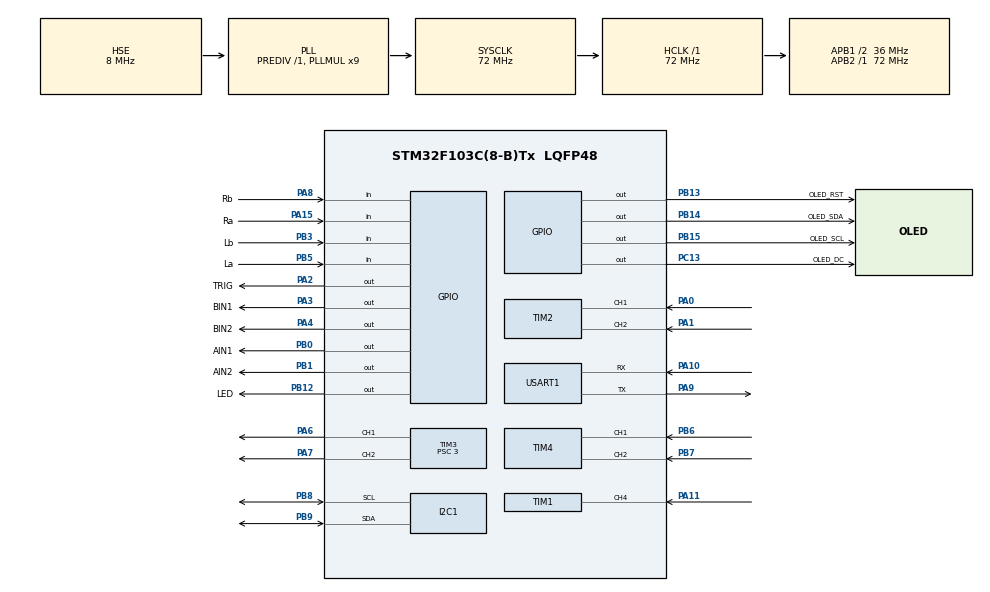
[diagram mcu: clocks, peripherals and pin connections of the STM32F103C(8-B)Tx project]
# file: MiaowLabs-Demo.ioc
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Mcu.Family=STM32F1
Mcu.Name=STM32F103C(8-B)Tx
Mcu.Package=LQFP48
NVIC.PriorityGroup=NVIC_PRIORITYGROUP_4
NVIC.TIM1_CC_IRQn=true\:0\:0\:false\:false\:true\:true\:true
NVIC.TIM1_UP_IRQn=true\:0\:0\:false\:false\:true\:true\:true
NVIC.USART1_IRQn=true\:0\:0\:false\:false\:true\:true\:true
PA0-WKUP.Signal=S_TIM2_CH1_ETR
PA1.Signal=S_TIM2_CH2
PA10.Mode=Asynchronous
PA10.Signal=USART1_RX
PA11.Signal=S_TIM1_CH4
PA13.Mode=Serial_Wire
PA13.Signal=SYS_JTMS-SWDIO
PA14.Mode=Serial_Wire
PA14.Signal=SYS_JTCK-SWCLK
PA15.GPIO_Label=Ra
PA15.GPIO_PuPd=GPIO_PULLUP
PA15.Signal=GPIO_Input
PA2.GPIO_Label=TRIG
PA2.GPIO_Speed=GPIO_SPEED_FREQ_HIGH
PA2.Signal=GPIO_Output
PA3.GPIO_Label=BIN1
PA3.GPIO_PuPd=GPIO_NOPULL
PA3.Signal=GPIO_Output
PA4.GPIO_Label=BIN2
PA4.Signal=GPIO_Output
PA6.Signal=S_TIM3_CH1
PA7.Signal=S_TIM3_CH2
PA8.GPIO_Label=Rb
PA8.GPIO_PuPd=GPIO_PULLUP
PA8.Signal=GPIO_Input
PA9.Mode=Asynchronous
PA9.Signal=USART1_TX
PB0.GPIO_Label=AIN1
PB0.Signal=GPIO_Output
PB1.GPIO_Label=AIN2
PB1.Signal=GPIO_Output
PB12.GPIO_Label=LED
PB12.GPIO_ModeDefaultOutputPP=GPIO_MODE_OUTPUT_PP
PB12.GPIO_Speed=GPIO_SPEED_FREQ_HIGH
PB12.Signal=GPIO_Output
PB13.GPIO_Label=OLED_RST
PB13.Signal=GPIO_Output
PB14.GPIO_Label=OLED_SDA
PB14.Signal=GPIO_Output
PB15.GPIO_Label=OLED_SCL
PB15.Signal=GPIO_Output
PB3.GPIO_Label=Lb
PB3.GPIO_PuPd=GPIO_PULLUP
PB3.Signal=GPIO_Input
PB5.GPIO_Label=La
PB5.GPIO_PuPd=GPIO_PULLUP
PB5.Signal=GPIO_Input
PB6.Signal=S_TIM4_CH1
PB7.Signal=S_TIM4_CH2
PB8.Mode=I2C
PB8.Signal=I2C1_SCL
PB9.Mode=I2C
PB9.Signal=I2C1_SDA
PC13-TAMPER-RTC.GPIO_Label=OLED_DC
PC13-TAMPER-RTC.Signal=GPIO_Output
PC14-OSC32_IN.Mode=LSE-External-Oscillator
PC14-OSC32_IN.Signal=RCC_OSC32_IN
PC15-OSC32_OUT.Mode=LSE-External-Oscillator
PC15-OSC32_OUT.Signal=RCC_OSC32_OUT
PD0-OSC_IN.Mode=HSE-External-Oscillator
PD0-OSC_IN.Signal=RCC_OSC_IN
PD1-OSC_OUT.Mode=HSE-External-Oscillator
PD1-OSC_OUT.Signal=RCC_OSC_OUT
ProjectManager.HeapSize=0x200
ProjectManager.StackSize=0x400
ProjectManager.TargetToolchain=MDK-ARM V5
RCC.AHBFreq_Value=72000000
RCC.APB1CLKDivider=RCC_HCLK_DIV2
RCC.APB1Freq_Value=36000000
RCC.APB1TimFreq_Value=72000000
RCC.APB2Freq_Value=72000000
RCC.APB2TimFreq_Value=72000000
RCC.HCLKFreq_Value=72000000
RCC.PLLMUL=RCC_PLL_MUL9
RCC.PLLSourceVirtual=RCC_PLLSOURCE_HSE
RCC.SYSCLKFreq_VALUE=72000000
RCC.SYSCLKSource=RCC_SYSCLKSOURCE_PLLCLK
RCC.USBFreq_Value=72000000
SH.S_TIM1_CH4.0=TIM1_CH4,Input_Capture4_from_TI4
SH.S_TIM2_CH1_ETR.0=TIM2_CH1,Encoder_Interface
SH.S_TIM2_CH2.0=TIM2_CH2,Encoder_Interface
SH.S_TIM3_CH1.0=TIM3_CH1,PWM Generation1 CH1
SH.S_TIM3_CH2.0=TIM3_CH2,PWM Generation2 CH2
SH.S_TIM4_CH1.0=TIM4_CH1,Encoder_Interface
SH.S_TIM4_CH2.0=TIM4_CH2,Encoder_Interface
TIM1.Channel-Input_Capture4_from_TI4=TIM_CHANNEL_4
TIM1.Prescaler=71
TIM2.EncoderMode=TIM_ENCODERMODE_TI12
TIM3.Channel-PWM\ Generation1\ CH1=TIM_CHANNEL_1
TIM3.Channel-PWM\ Generation2\ CH2=TIM_CHANNEL_2
TIM3.Period=1000
TIM3.Prescaler=3
TIM3.Pulse-PWM\ Generation1\ CH1=100
TIM3.Pulse-PWM\ Generation2\ CH2=100
TIM4.EncoderMode=TIM_ENCODERMODE_TI12
USART1.VirtualMode=VM_ASYNC
board=custom

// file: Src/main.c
/* USER CODE BEGIN Header */
/**
  ******************************************************************************
  * @file           : main.c
  * @brief          : Main program body
  ******************************************************************************
  * @attention
  *
  * <h2><center>&copy; Copyright (c) 2021 STMicroelectronics.
  * All rights reserved.</center></h2>
  *
  * This software component is licensed by ST under BSD 3-Clause license,
  * the "License"; You may not use this file except in compliance with the
  * License. You may obtain a copy of the License at:
  *                        opensource.org/licenses/BSD-3-Clause
  *
  ******************************************************************************
  */
/* USER CODE END Header */
#include "main.h"
#include "i2c.h"
#include "tim.h"
#include "usart.h"
#include "gpio.h"

/* USER CODE BEGIN Includes */
#include "u8g2.h"
#include "u8x8.h"
#include "infrare.h"
/* USER CODE END Includes */

void SystemClock_Config(void);

/* USER CODE BEGIN 0 */
unsigned short SoftTimer[5] = {0, 0, 0, 0, 0};

void SoftTimerCountDown(void)
{
    char i;
    for(i = 0;  i < 5; i++){
        if(SoftTimer[i] > 0)SoftTimer[i]--;
    }
}
//秒级任务
void SecTask()
{
    if(SoftTimer[0])return;
    else{
        SoftTimer[0] = 1000;
    }
}
/* USER CODE END 0 */

int main(void)
{
  /* USER CODE BEGIN 1 */
  u8g2_t u8g2;
	char cStr[3];
  char cStr2[6];
	char cStr3[5];
	int modeCnt = 0;
	int taskOne = 0;
	/* USER CODE END 1 */

  /* MCU Configuration--------------------------------------------------------*/

  /* Reset of all peripherals, Initializes the Flash interface and the Systick. */
  HAL_Init();

  /* Configure the system clock */
  SystemClock_Config();

  /* Initialize all configured peripherals */
  MX_GPIO_Init();
  MX_USART1_UART_Init();
  MX_TIM2_Init();
  MX_TIM4_Init();
  MX_TIM3_Init();
  MX_I2C1_Init();
  MX_TIM1_Init();
  /* USER CODE BEGIN 2 */
  HAL_TIM_Encoder_Start(&htim4, TIM_CHANNEL_ALL);//开启TIM4的编码器接口模式
  HAL_TIM_Encoder_Start(&htim2, TIM_CHANNEL_ALL);//开启TIM2的编码器接口模式
	HAL_TIM_IC_Start_IT(&htim1,TIM_CHANNEL_4);//开启TIM1的捕获通道4，并且开启捕获中断
	__HAL_TIM_ENABLE_IT(&htim1,TIM_IT_UPDATE);//使能更新中断

  HAL_TIM_PWM_Start(&htim3,TIM_CHANNEL_1);
  HAL_GPIO_WritePin(AIN1_GPIO_Port, AIN1_Pin, GPIO_PIN_RESET);
  HAL_GPIO_WritePin(AIN2_GPIO_Port, AIN2_Pin, GPIO_PIN_RESET);
  HAL_TIM_PWM_Start(&htim3,TIM_CHANNEL_2);//开启TIM3_CH2的PWM输出
  HAL_GPIO_WritePin(BIN1_GPIO_Port, BIN1_Pin, GPIO_PIN_RESET);//初始化BIN1引脚为低电平
  HAL_GPIO_WritePin(BIN2_GPIO_Port, BIN2_Pin, GPIO_PIN_RESET);//初始化BIN2引脚为高电平

  if(!MPU_Init())//如果MPU6050初始化成功，返回0，!0则为1
  {
		printf("MPU-6050 Init Successfully");//成功了则打印 MPU-6050 Init Successfully
  }
	u8g2_Setup_ssd1306_128x64_noname_f(&u8g2,U8G2_R0,u8x8_byte_4wire_sw_spi,u8x8_stm32_gpio_and_delay);//初始化u8g2
  u8g2_InitDisplay(&u8g2);//初始zai化显示器
  u8g2_SetPowerSave(&u8g2,0);//唤醒显示器
	u8g2_SetFont(&u8g2,u8g2_font_6x12_mr);//设置英文字体

	SetMode(TAILING_MODE);

	/* USER CODE END 2 */

  /* Infinite loop */
  /* USER CODE BEGIN WHILE */
  while (1)
  {
		if (taskOne)
			KeepDirect(0);
		else
			KeepDirect(1);
		SecTask();              // 秒级任务
		if(SoftTimer[1] == 0) {
			SoftTimer[1] = 20;
			RunMode();
		}

		if(SoftTimer[2] == 0)
		{
			SoftTimer[2] = 20;//20毫秒刷新一次
			u8g2_ClearBuffer(&u8g2);//清空缓冲区的内容

			u8g2_DrawStr(&u8g2,0,10,"Pulse:");//输出固定不变的字符串Angle：
			sprintf(cStr,"%d %d",g_iLeftTurnRoundCnt, g_iRightTurnRoundCnt);//将角度数据格式化输出到字符串cStr
			u8g2_DrawStr(&u8g2,50,10,cStr);//输出实时变化的角度数据

			u8g2_DrawStr(&u8g2,0,20,"Distance:");//输出固定不变的字符串Distane：
			sprintf(cStr2,"%5.1f",(float)Distance);//将超声波距离数据格式化输出到字符串cStr2
			u8g2_DrawStr(&u8g2,50,20,cStr2);//输出实时变化的超声波距离

			u8g2_DrawStr(&u8g2, 0, 30, "IR:");
			sprintf(cStr3, "%d %d %d %d",
				Lb, La, Ra, Rb
			);
			u8g2_DrawStr(&u8g2,50,30,cStr3);

			u8g2_DrawStr(&u8g2, 0, 40, "Direct:");
			char cStr4[20];

			sprintf(cStr4, "%3.1f %2.1f %2.1f", GetDirect(), g_fCarAngle, g_fCarSpeedReal);
			u8g2_DrawStr(&u8g2, 50, 40, cStr4);
			u8g2_SendBuffer(&u8g2);//绘制缓冲区的内容

			Read_Distane();//每20ms读一次超声波数据
		}

		/*
		if(SoftTimer[3] == 0) {
			taskOne = 1;
			SoftTimer[3] = 100;
			if (g_currentMode == STOP_MODE) {
				if (modeCnt == 0)
					SetMode(FORWARD_MODE);
				else if (modeCnt == 2)
					SetMode(BACKWARD_MODE);
				else if (modeCnt == 4)
					SetMode(LEFTMOVE_MODE);
				else if (modeCnt == 6)
					SetMode(RIGHTMOVE_MODE);
				else
					SetMode(STOP_MODE);
				if (modeCnt % 2 == 1) {
					SoftTimer[3] = 2500;
				}
				modeCnt++;
			}
		}
		*/

    /* USER CODE END WHILE */

  }
}

void SystemClock_Config(void)
{
  RCC_OscInitTypeDef RCC_OscInitStruct = {0};
  RCC_ClkInitTypeDef RCC_ClkInitStruct = {0};

  /** Initializes the RCC Oscillators according to the specified parameters
  * in the RCC_OscInitTypeDef structure.
  */
  RCC_OscInitStruct.OscillatorType = RCC_OSCILLATORTYPE_HSE;
  RCC_OscInitStruct.HSEState = RCC_HSE_ON;
  RCC_OscInitStruct.HSEPredivValue = RCC_HSE_PREDIV_DIV1;
  RCC_OscInitStruct.HSIState = RCC_HSI_ON;
  RCC_OscInitStruct.PLL.PLLState = RCC_PLL_ON;
  RCC_OscInitStruct.PLL.PLLSource = RCC_PLLSOURCE_HSE;
  RCC_OscInitStruct.PLL.PLLMUL = RCC_PLL_MUL9;
  if (HAL_RCC_OscConfig(&RCC_OscInitStruct) != HAL_OK)
  {
    Error_Handler();
  }
  /** Initializes the CPU, AHB and APB buses clocks
  */
  RCC_ClkInitStruct.ClockType = RCC_CLOCKTYPE_HCLK|RCC_CLOCKTYPE_SYSCLK
                              |RCC_CLOCKTYPE_PCLK1|RCC_CLOCKTYPE_PCLK2;
  RCC_ClkInitStruct.SYSCLKSource = RCC_SYSCLKSOURCE_PLLCLK;
  RCC_ClkInitStruct.AHBCLKDivider = RCC_SYSCLK_DIV1;
  RCC_ClkInitStruct.APB1CLKDivider = RCC_HCLK_DIV2;
  RCC_ClkInitStruct.APB2CLKDivider = RCC_HCLK_DIV1;

  if (HAL_RCC_ClockConfig(&RCC_ClkInitStruct, FLASH_LATENCY_2) != HAL_OK)
  {
    Error_Handler();
  }
}

void Error_Handler(void)
{
}

/************************ (C) COPYRIGHT STMicroelectronics *****END OF FILE****/
